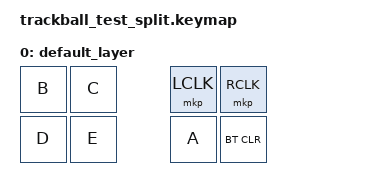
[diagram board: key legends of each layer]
#include <behaviors.dtsi>
#include <dt-bindings/zmk/keys.h>
#include <dt-bindings/zmk/bt.h>
#include <dt-bindings/zmk/pointing.h>

/ {
    keymap {
        compatible = "zmk,keymap";

        default_layer {
            //   左SW1   左SW2   |  右SW1：左クリック  右SW2：右クリック
            //   左SW3   左SW4   |  右SW3：A           右SW4：Bluetooth のペアリング情報を消す
            // 左は B・C・D・E にして、どちらの手から入力が来たか分かるようにする
            bindings = <
                &kp B   &kp C       &mkp LCLK   &mkp RCLK
                &kp D   &kp E       &kp A       &bt BT_CLR
            >;
        };
    };
};
